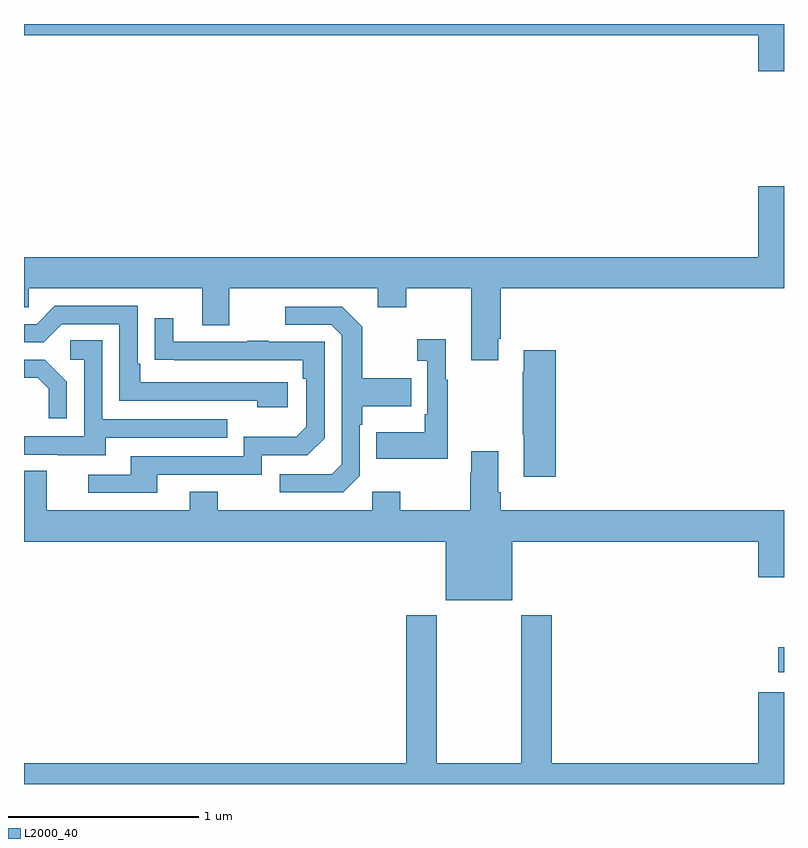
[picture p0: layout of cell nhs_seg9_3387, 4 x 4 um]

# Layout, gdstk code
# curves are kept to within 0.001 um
import gdstk
lib = gdstk.Library(unit=1e-6, precision=1e-09)
def R(c, l, rs):  # rectangles x0, y0, x1, y1
    for r in rs: c.add(gdstk.rectangle(r[:2], r[2:], *l))
def P(c, l, *ps):  # polygons
    for p in ps: c.add(gdstk.Polygon(p, *l))
L2000_40 = (2000, 40)

nhs_seg9_3387 = lib.new_cell('nhs_seg9_3387')
R(nhs_seg9_3387, L2000_40, [(308.97,1173.089,309,1173.219)])
P(nhs_seg9_3387, L2000_40, [(309,1176.5),(305,1176.5),(305,1176.44),(308.864,1176.44),(308.864,1176.252),(309,1176.252)],
  [(307.495,1174.843),(307.508,1174.843),(307.508,1175.108),(309,1175.108),(309,1175.647),(308.864,1175.647),(308.864,1175.272),(305,1175.272),(305,1175.01),(305.025,1175.01),(305.025,1175.108),(305.939,1175.108),(305.939,1174.914),(306.079,1174.914),(306.079,1175.108),(306.863,1175.108),(306.863,1175.009),(307.011,1175.009),(307.011,1175.108),(307.355,1175.108),(307.355,1174.731),(307.495,1174.731)],
  [(306.388,1174.614),(305.611,1174.614),(305.611,1174.711),(305.598,1174.711),(305.598,1175.016),(305.163,1175.016),(305.067,1174.92),(305,1174.92),(305,1174.824),(305.103,1174.824),(305.199,1174.92),(305.502,1174.92),(305.502,1174.518),(306.227,1174.518),(306.227,1174.484),(306.388,1174.484)],
  [(306.768,1174.122),(306.768,1174.391),(306.781,1174.391),(306.781,1174.487),(307.037,1174.487),(307.037,1174.635),(306.781,1174.635),(306.781,1174.907),(306.675,1175.013),(306.375,1175.013),(306.375,1174.917),(306.618,1174.917),(306.672,1174.863),(306.672,1174.182),(306.621,1174.131),(306.345,1174.131),(306.345,1174.035),(306.681,1174.035)],
  [(305.701,1174.128),(306.252,1174.128),(306.252,1174.23),(306.492,1174.23),(306.582,1174.32),(306.582,1174.827),(306.287,1174.827),(306.287,1174.832),(306.175,1174.832),(306.175,1174.827),(305.785,1174.827),(305.785,1174.951),(305.689,1174.951),(305.689,1174.732),(306.466,1174.731),(306.466,1174.634),(306.486,1174.634),(306.486,1174.38),(306.433,1174.327),(306.156,1174.327),(306.156,1174.224),(305.561,1174.224),(305.561,1174.128),(305.337,1174.128),(305.337,1174.032),(305.701,1174.032)],
  [(307.231,1174.627),(307.219,1174.627),(307.219,1174.84),(307.071,1174.84),(307.071,1174.727),(307.122,1174.727),(307.122,1174.447),(307.11,1174.447),(307.11,1174.351),(306.853,1174.351),(306.853,1174.211),(307.231,1174.211)],
  [(305.431,1174.323),(306.071,1174.323),(306.071,1174.419),(305.412,1174.419),(305.412,1174.835),(305.244,1174.835),(305.244,1174.734),(305.316,1174.734),(305.316,1174.329),(305,1174.329),(305,1174.233),(305.177,1174.233),(305.177,1174.229),(305.431,1174.229)],
  [(307.799,1174.783),(307.631,1174.783),(307.631,1174.67),(307.624,1174.67),(307.624,1174.339),(307.631,1174.339),(307.631,1174.116),(307.799,1174.116)],
  [(305.226,1174.618),(305.11,1174.734),(305,1174.734),(305,1174.638),(305.072,1174.638),(305.129,1174.581),(305.129,1174.425),(305.226,1174.425)],
  [(307.57,1173.776),(308.864,1173.776),(308.864,1173.588),(309,1173.588),(309,1173.94),(307.508,1173.94),(307.508,1174.036),(307.495,1174.036),(307.495,1174.252),(307.355,1174.252),(307.355,1174.139),(307.348,1174.139),(307.348,1173.94),(306.981,1173.94),(306.981,1174.039),(306.834,1174.039),(306.834,1173.94),(306.021,1173.94),(306.021,1174.039),(305.873,1174.039),(305.873,1173.94),(305.119,1173.94),(305.119,1174.148),(305,1174.148),(305,1173.776),(307.22,1173.776),(307.22,1173.467),(307.57,1173.467)],
  [(305,1172.5),(309,1172.5),(309,1172.983),(308.864,1172.983),(308.864,1172.608),(307.778,1172.608),(307.778,1173.388),(307.618,1173.388),(307.618,1172.608),(307.173,1172.608),(307.173,1173.388),(307.013,1173.388),(307.013,1172.608),(305,1172.608)])

lib.write_gds('nhs_seg9_3387.gds')
